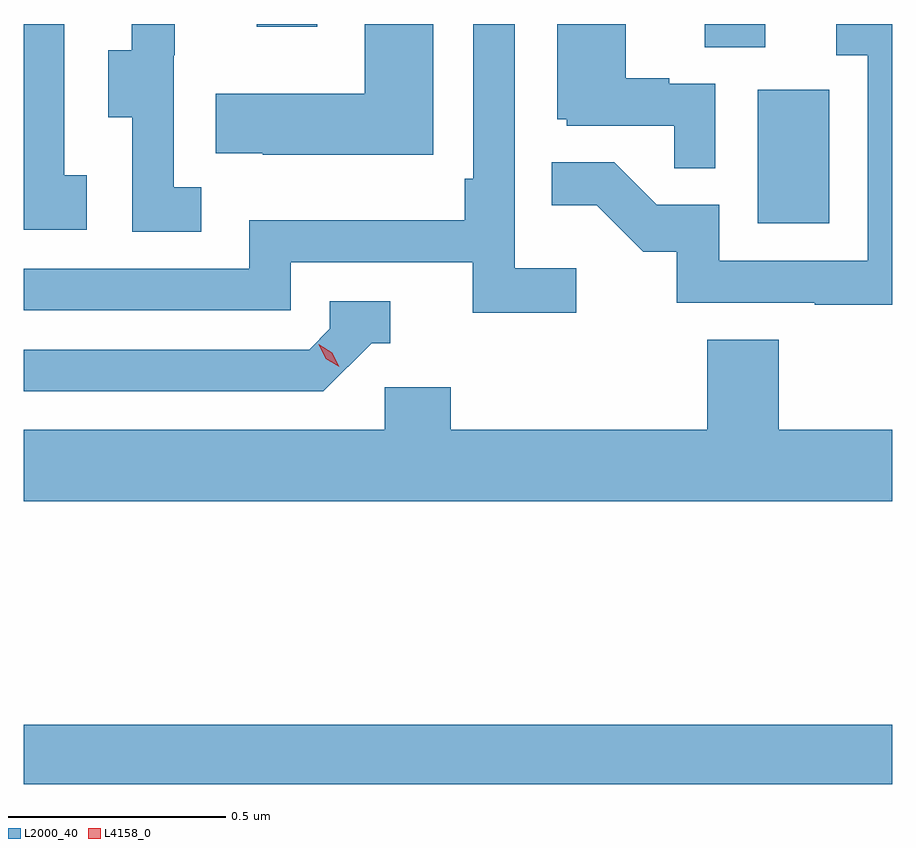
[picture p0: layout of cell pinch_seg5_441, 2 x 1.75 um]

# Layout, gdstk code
import gdstk
lib = gdstk.Library(unit=1e-6, precision=1e-09)
def R(c, l, rs):  # rectangles x0, y0, x1, y1
    for r in rs: c.add(gdstk.rectangle(r[:2], r[2:], *l))
def P(c, l, *ps):  # polygons
    for p in ps: c.add(gdstk.Polygon(p, *l))
L2000_40 = (2000, 40)
L4158_0 = (4158, 0)

pinch_seg5_441 = lib.new_cell('pinch_seg5_441')
R(pinch_seg5_441, L2000_40, [(904.041,868.096,906.041,868.232), (905.732,869.388,905.896,869.695), (905.609,869.794,905.749,869.847), (904.577,869.841,904.717,869.847)])
P(pinch_seg5_441, L2000_40, [(906.041,869.847),(905.913,869.847),(905.913,869.775),(905.985,869.775),(905.985,869.301),(905.643,869.301),(905.643,869.43),(905.499,869.43),(905.401,869.528),(905.257,869.528),(905.257,869.429),(905.361,869.429),(905.468,869.322),(905.545,869.322),(905.545,869.205),(905.863,869.205),(905.863,869.2),(906.041,869.2)],
  [(904.186,869.498),(904.134,869.498),(904.134,869.847),(904.041,869.847),(904.041,869.373),(904.186,869.373)],
  [(904.45,869.471),(904.386,869.471),(904.386,869.775),(904.388,869.775),(904.388,869.847),(904.289,869.847),(904.289,869.787),(904.235,869.787),(904.235,869.632),(904.29,869.632),(904.29,869.368),(904.45,869.368)],
  [(904.984,869.847),(904.826,869.847),(904.826,869.686),(904.483,869.686),(904.483,869.549),(904.591,869.549),(904.591,869.546),(904.984,869.546)],
  [(905.634,869.709),(905.528,869.709),(905.528,869.722),(905.428,869.722),(905.428,869.847),(905.27,869.847),(905.27,869.628),(905.292,869.628),(905.292,869.613),(905.539,869.613),(905.539,869.515),(905.634,869.515)],
  [(905.314,869.284),(905.172,869.284),(905.172,869.847),(905.076,869.847),(905.076,869.491),(905.056,869.491),(905.056,869.395),(904.56,869.395),(904.56,869.283),(904.041,869.283),(904.041,869.187),(904.656,869.187),(904.656,869.298),(905.075,869.298),(905.075,869.182),(905.314,869.182)],
  [(904.842,869.112),(904.885,869.112),(904.885,869.208),(904.746,869.208),(904.746,869.145),(904.698,869.097),(904.041,869.097),(904.041,869.001),(904.731,869.001)],
  [(906.041,868.912),(905.78,868.912),(905.78,869.12),(905.615,869.12),(905.615,868.912),(905.024,868.912),(905.024,869.01),(904.872,869.01),(904.872,868.912),(904.041,868.912),(904.041,868.748),(906.041,868.748)])
P(pinch_seg5_441, L4158_0, [(904.767,869.057),(904.736,869.076),(904.72,869.109),(904.72,869.109),(904.72,869.109),(904.751,869.09),(904.767,869.057),(904.767,869.057)])

lib.write_gds('pinch_seg5_441.gds')
